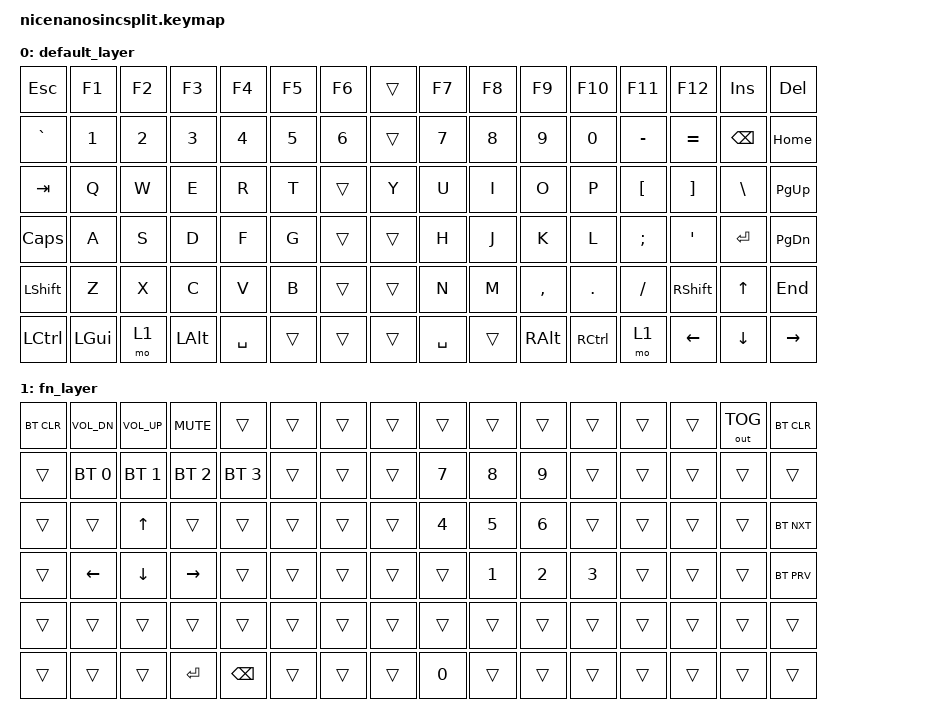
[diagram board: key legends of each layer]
#include <behaviors.dtsi>
#include <dt-bindings/zmk/bt.h>
#include <dt-bindings/zmk/keys.h>
#include <dt-bindings/zmk/outputs.h>

/ {
    keymap {
        compatible = "zmk,keymap";

// ----------------------------------------------         ----------------------------------------------------
// | ESC    |  F1  |  F2 |  F3  |  F4 |  F5 |  F6 |      |  F7 |  F8 |  F9 | F10 | F11 | F12 |    INS | DEL  |
// | GRAVE |  1   |  2  |  3   |  4  |  5  |  6  |      |  7  |  8  |  9  |  0  |  -  |  =  |   BKSPC | HOME |
// | TAB   |  Q   |  W  |  E   |  R  |  T  |          |  Y  |  U  |  I  |  O  |  P  |  [  |  ]  |  \  | PGUP |
// | CAPS  |  A   |  S  |  D   |  F  |  G  |           |  H  |  J  |  K  |  L  |  ;  |  '  |   ENTER  | PGDN |
// | SHIFT   |  Z   |  X  |  C  |  V   |  B  |          |  N  |  M  |  ,  |  .  |  /  |  RSHFT  |  UP | END  |
// | LCTRL   | LGUI | LALT |   SPACE   | FN  |          |    SPACE    | RALT | FN | RCTRL | LFT | DWN | RGHT |
// -------------------------------------------          ------------------------------------------------------

        default_layer {
            bindings = <
&kp ESC   &kp F1   &kp F2   &kp F3    &kp F4    &kp F5      &kp F6    /**/ &trans    &kp F7    &kp F8    &kp F9    &kp F10   &kp F11   &kp F12   &kp INS  &kp DEL
&kp GRAVE &kp N1   &kp N2   &kp N3    &kp N4    &kp N5      &kp N6    /**/ &trans    &kp N7    &kp N8    &kp N9    &kp N0    &kp MINUS &kp EQUAL &kp BSPC &kp HOME
&kp TAB   &kp Q    &kp W    &kp E     &kp R     &kp T  	    &trans    /**/ &kp Y     &kp U     &kp I     &kp O     &kp P     &kp LBKT  &kp RBKT  &kp BSLH &kp PG_UP
&kp CAPS  &kp A    &kp S    &kp D     &kp F     &kp G       &trans    /**/ &trans    &kp H     &kp J     &kp K     &kp L     &kp SEMI  &kp SQT   &kp RET  &kp PG_DN
&kp LSHFT &kp Z    &kp X    &kp C     &kp V     &kp B       &trans    /**/ &trans    &kp N     &kp M     &kp COMMA &kp DOT   &kp FSLH  &kp RSHFT &kp UP   &kp END
&kp LCTRL &kp LGUI &mo 1    &kp LALT  &kp SPACE &trans      &trans    /**/ &trans    &kp SPACE &trans    &kp RALT  &kp RCTRL &mo 1     &kp LEFT  &kp DOWN &kp RIGHT
            >;
        };

// ----------------------------------------------      -------------------------------------------------------
// |BT_CLR|      |     |      |     |     |     |      |  7  |  8  |  9  |     |     |        |OUT_TOG|BT_CLR|
// |       | BT-0 | BT-1| BT-2 | BT-3|     |        |     |  4  |  5  |  6  |     |     |     |       |      |
// |        |      |     |      |     |     |        |     |  1  |  2  |  3  |     |     |            |BT_NXT|
// |         |      |     |     |      |     |        |     |     |     |     |     |         |       |BT_PRV|
// |           |     |     |     |      |     |         |     |     |     |     |     |       |       |      |
// |         |      |      |  RET |   BSPC   |         |      0     |      |    |       |     |       |      |
// -------------------------------------------         -------------------------------------------------------

        fn_layer {
            bindings = <
&bt BT_CLR &kp C_VOL_DN &kp C_VOL_UP &kp C_MUTE   &trans       &trans      &trans /**/ &trans &trans &trans &trans &trans  &trans  &trans  &out OUT_TOG    &bt BT_CLR
&trans     &bt BT_SEL 0 &bt BT_SEL 1 &bt BT_SEL 2 &bt BT_SEL 3 &trans      &trans /**/ &trans &kp N7 &kp N8 &kp N9 &trans  &trans  &trans  &trans          &trans 
&trans     &trans       &kp UP       &trans       &trans       &trans      &trans /**/ &trans &kp N4 &kp N5 &kp N6 &trans  &trans  &trans  &trans          &bt BT_NXT
&trans     &kp LEFT     &kp DOWN     &kp RIGHT    &trans       &trans      &trans /**/ &trans &trans &kp N1 &kp N2 &kp N3  &trans  &trans  &trans          &bt BT_PRV
&trans     &trans       &trans       &trans       &trans       &trans      &trans /**/ &trans &trans &trans &trans &trans  &trans  &trans  &trans          &trans
&trans     &trans       &trans       &kp RET      &kp BSPC     &trans      &trans /**/ &trans &kp N0 &trans &trans &trans  &trans  &trans  &trans          &trans
            >;
        };
    };
};
